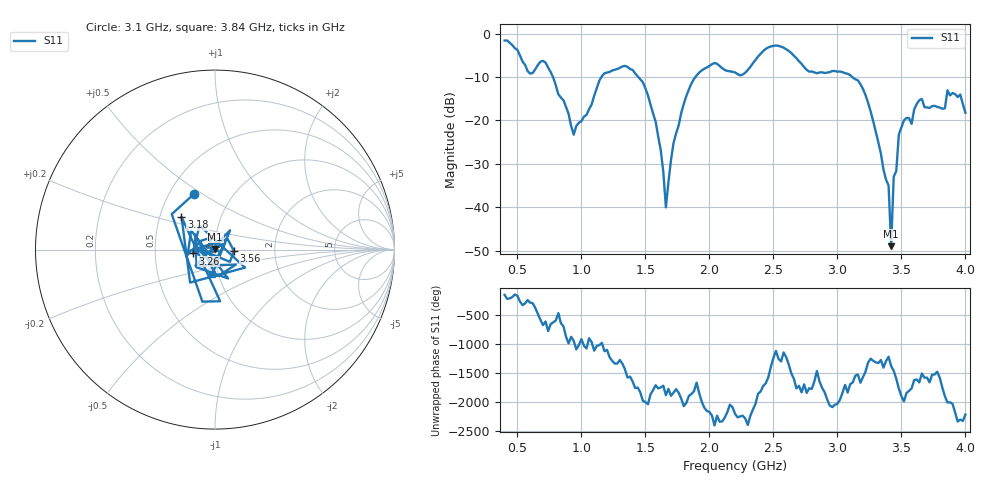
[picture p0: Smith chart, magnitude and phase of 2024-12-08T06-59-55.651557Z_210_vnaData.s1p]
!Created with skrf (http://scikit-rf.org).
# Hz S RI R 50.0
!freq ReS11 ImS11
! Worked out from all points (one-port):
!   181 points, 400 MHz to 4 GHz, reference 50 ohm
!   lowest |S11| = -48.9 dB at 3.42 GHz (marker M1), VSWR 1.01, Z = 50.2 + j0.315 ohm
!   |S11| at or under -10 dB: 777.8 MHz to 1.156 GHz (378.6 MHz wide, 39.1 % of centre); 1.444 GHz to 1.891 GHz (446.9 MHz wide, 26.8 % of centre); 3.115 GHz to end of sweep
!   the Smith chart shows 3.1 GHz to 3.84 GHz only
!   S11 on the Smith chart (normalised r, x): 3.1 GHz: 0.66, +0.47; 3.18 GHz: 0.65, +0.25; 3.26 GHz: 0.78, -0.03; 3.56 GHz: 1.24, -0.02; 3.84 GHz: 0.93, -0.26
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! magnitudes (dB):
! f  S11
! 400 MHz  -1.6
! 600 MHz  -9.2
! 720 MHz  -6.7
! 860 MHz  -15.4
! 940 MHz  -23.3
! 1.16 GHz  -9.8
! 1.3 GHz  -7.9
! 1.52 GHz  -14.2
! 1.62 GHz  -26.8
! 1.66 GHz  -40.0
! 1.76 GHz  -21.1
! 1.92 GHz  -9.0
! 2.2 GHz  -9.0
! 2.48 GHz  -3.0
! 2.66 GHz  -5.1
! 3.1 GHz  -9.6
! 3.18 GHz  -11.7
! 3.26 GHz  -18.0
! 3.4 GHz  -34.9
! 3.42 GHz  -48.9
! 3.44 GHz  -32.9
! 3.46 GHz  -31.6
! 3.48 GHz  -23.2
! 3.56 GHz  -19.5
! 3.66 GHz  -15.0
! 3.84 GHz  -17.2
! 3.86 GHz  -13.1
! 4 GHz  -18.2
